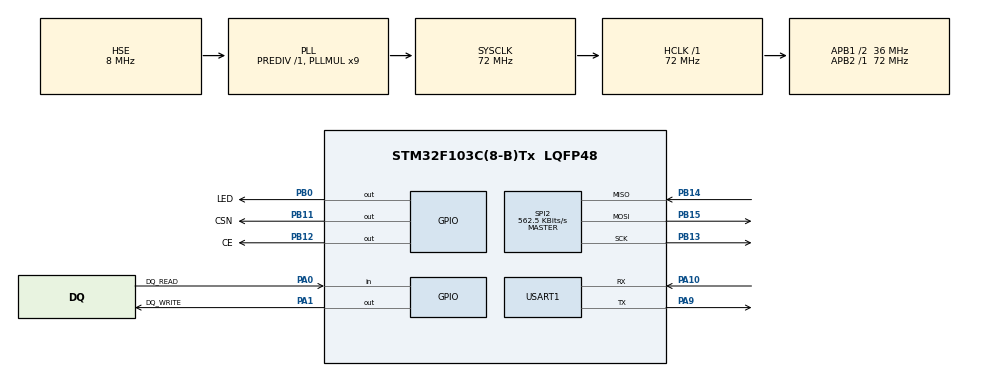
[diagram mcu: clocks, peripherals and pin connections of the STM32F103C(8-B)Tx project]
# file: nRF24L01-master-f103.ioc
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Mcu.Family=STM32F1
Mcu.Name=STM32F103C(8-B)Tx
Mcu.Package=LQFP48
NVIC.PriorityGroup=NVIC_PRIORITYGROUP_4
PA0-WKUP.GPIO_Label=DQ_READ
PA0-WKUP.GPIO_PuPd=GPIO_PULLUP
PA0-WKUP.Signal=GPIO_Input
PA1.GPIO_Label=DQ_WRITE
PA1.GPIO_ModeDefaultOutputPP=GPIO_MODE_OUTPUT_OD
PA1.GPIO_PuPd=GPIO_PULLUP
PA1.GPIO_Speed=GPIO_SPEED_FREQ_HIGH
PA1.PinState=GPIO_PIN_SET
PA1.Signal=GPIO_Output
PA10.Mode=Asynchronous
PA10.Signal=USART1_RX
PA13.Mode=Serial_Wire
PA13.Signal=SYS_JTMS-SWDIO
PA14.Mode=Serial_Wire
PA14.Signal=SYS_JTCK-SWCLK
PA9.Mode=Asynchronous
PA9.Signal=USART1_TX
PB0.GPIO_Label=LED
PB0.Signal=GPIO_Output
PB11.GPIO_Label=CSN
PB11.GPIO_PuPd=GPIO_PULLUP
PB11.Signal=GPIO_Output
PB12.GPIO_Label=CE
PB12.GPIO_PuPd=GPIO_PULLUP
PB12.Signal=GPIO_Output
PB13.Mode=Full_Duplex_Master
PB13.Signal=SPI2_SCK
PB14.Mode=Full_Duplex_Master
PB14.Signal=SPI2_MISO
PB15.Mode=Full_Duplex_Master
PB15.Signal=SPI2_MOSI
PD0-OSC_IN.Mode=HSE-External-Oscillator
PD0-OSC_IN.Signal=RCC_OSC_IN
PD1-OSC_OUT.Mode=HSE-External-Oscillator
PD1-OSC_OUT.Signal=RCC_OSC_OUT
ProjectManager.HeapSize=0x200
ProjectManager.StackSize=0x400
ProjectManager.TargetToolchain=SW4STM32
RCC.AHBFreq_Value=72000000
RCC.APB1CLKDivider=RCC_HCLK_DIV2
RCC.APB1Freq_Value=36000000
RCC.APB1TimFreq_Value=72000000
RCC.APB2Freq_Value=72000000
RCC.APB2TimFreq_Value=72000000
RCC.HCLKFreq_Value=72000000
RCC.PLLMUL=RCC_PLL_MUL9
RCC.PLLSourceVirtual=RCC_PLLSOURCE_HSE
RCC.SYSCLKFreq_VALUE=72000000
RCC.SYSCLKSource=RCC_SYSCLKSOURCE_PLLCLK
RCC.USBFreq_Value=72000000
SPI2.BaudRatePrescaler=SPI_BAUDRATEPRESCALER_64
SPI2.CalculateBaudRate=562.5 KBits/s
SPI2.Direction=SPI_DIRECTION_2LINES
SPI2.Mode=SPI_MODE_MASTER
SPI2.VirtualType=VM_MASTER
USART1.VirtualMode=VM_ASYNC
board=custom

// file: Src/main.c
/* USER CODE BEGIN Header */
/**
  ******************************************************************************
  * @file           : main.c
  * @brief          : Main program body
  ******************************************************************************
  * @attention
  *
  * <h2><center>&copy; Copyright (c) 2019 STMicroelectronics.
  * All rights reserved.</center></h2>
  *
  * This software component is licensed by ST under BSD 3-Clause license,
  * the "License"; You may not use this file except in compliance with the
  * License. You may obtain a copy of the License at:
  *                        opensource.org/licenses/BSD-3-Clause
  *
  ******************************************************************************
  */
/* USER CODE END Header */

#include "main.h"
#include "spi.h"
#include "usart.h"
#include "gpio.h"

/* USER CODE BEGIN Includes */
	#include <string.h>
	#include <stdio.h>
	#include "NRF24L01_sm.h"
	#include "ds18b20_sm.h"

/* USER CODE END Includes */

/* USER CODE BEGIN PD */
#define CHECK_BIT(var, pos) (((var) & (1UL << (pos))) != 0)
/* USER CODE END PD */

void SystemClock_Config(void);

/* USER CODE BEGIN 0 */

	uint8_t dataOut[32];	/* Data received and data for send */
	uint8_t  dataIn[32];
	NRF24L01_Transmit_Status_t transmissionStatus;	/* NRF transmission status */

#ifdef MASTER
	uint8_t MyAddress[] = { 0, 0, 0, 0, 0x10 };	/* My address */
	uint8_t Tx0Address[] = { 0, 0, 0, 0, 0x21 };	/* Other end address */
	uint8_t Tx1Address[] = { 0, 0, 0, 0, 0x22 };	/* Other end address */
#endif

#ifdef SLAVE_21
	uint8_t MyAddress[] = { 0, 0, 0, 0, 0x21 };	/* My address */
	uint8_t TxAddress[] = { 0, 0, 0, 0, 0x10 };	/* Other end address */
#endif

#ifdef SLAVE_22
	uint8_t MyAddress[] = { 0, 0, 0, 0, 0x22 };	/* My address */
	uint8_t TxAddress[] = { 0, 0, 0, 0, 0x10 };	/* Other end address */
#endif
	char DataChar[100];
/* USER CODE END 0 */

int main(void)
{

  /* MCU Configuration--------------------------------------------------------*/

  /* Reset of all peripherals, Initializes the Flash interface and the Systick. */
  HAL_Init();

  /* Configure the system clock */
  SystemClock_Config();

  /* Initialize all configured peripherals */
  MX_GPIO_Init();
  MX_SPI2_Init();
  MX_USART1_UART_Init();
  /* USER CODE BEGIN 2 */

#ifdef MASTER
		sprintf(DataChar,"\r\n nRF24L01 MASTER v1.4.0 \r\nUART1 for debug started on speed 115200\r\n");
#else
		sprintf(DataChar,"\r\n nRF24L01 SLAVE v1.4.0 \r\nUART1 for debug started on speed 115200\r\n");
#endif
	HAL_UART_Transmit(&huart1, (uint8_t *)DataChar, strlen(DataChar), 100);

	NRF24L01_Init(&hspi2, MY_CHANNEL, 32);
	NRF24L01_SetRF(NRF24L01_DataRate_250k, NRF24L01_OutputPower_M6dBm);	/* Set 250kBps data rate and -6dBm output power */
	NRF24L01_SetMyAddress(MyAddress);	/* Set my address, 5 bytes */
	//NRF24L01_SetTxAddress(TxAddress);	/* Set TX address, 5 bytes */

#ifdef MASTER
	uint32_t sendTime = HAL_GetTick();
	uint8_t errors = 0;
#endif
	uint32_t lastTime = HAL_GetTick();
	int16_t  waitTime = 0;
	uint32_t ID_counter = 0;

	HAL_GPIO_WritePin(DQ_WRITE_GPIO_Port, DQ_WRITE_Pin, GPIO_PIN_SET);

  /* USER CODE END 2 */

  /* Infinite loop */
  /* USER CODE BEGIN WHILE */
  while (1)
  {
#ifdef MASTER
	if (HAL_GetTick() - lastTime > 1000) {			/* Every 2 seconds */
		if  ((ID_counter++)%2 == 1){
			DS18b20_ConvertTemp_SkipROM();

			NRF24L01_SetTxAddress(Tx0Address);	/* Set TX address, 5 bytes */
			sprintf(DataChar,"Convert...\r\n%d)dev20\r\n", (int)ID_counter);
		} else {
			int temp_i = DS18b20_Get_Temp_SkipROM();
			float temp_fl = (float)temp_i / 1600.0;
			sprintf(DataChar,"fl: %.03f; t: %d", temp_fl, temp_i/16);
			HAL_UART_Transmit(&huart1, (uint8_t *)DataChar, strlen(DataChar), 100);

			NRF24L01_SetTxAddress(Tx1Address);	/* Set TX address, 5 bytes */
			sprintf(DataChar,"\r\n%d)dev21\r\n", (int)ID_counter);
		}
		HAL_UART_Transmit(&huart1, (uint8_t *)DataChar, strlen(DataChar), 100);

		HAL_GPIO_WritePin(LED_GPIO_Port, LED_Pin, GPIO_PIN_RESET);
		sprintf((char *) dataOut, "Good f103 news  #%d", waitTime++);

		sprintf(DataChar,"TX: %s\r\n", dataOut);
		HAL_UART_Transmit(&huart1, (uint8_t *)DataChar, strlen(DataChar), 100);

		/* Transmit data, goes automatically to TX mode */
		NRF24L01_Transmit(dataOut);
		/* Wait for data to be sent */
		do {
			/* Get transmission status */
			transmissionStatus = NRF24L01_GetTransmissionStatus();
		} while (transmissionStatus == NRF24L01_Transmit_Status_Sending);
		sendTime = HAL_GetTick();

		/* Go back to RX mode */
		NRF24L01_PowerUpRx();
		/* Wait received data, wait max 100ms, if time is larger, then data were probably lost */
		while (!NRF24L01_DataReady() && (HAL_GetTick() - sendTime) < 100);
		sprintf(DataChar,"RX: ");
		HAL_UART_Transmit(&huart1, (uint8_t *)DataChar, strlen(DataChar), 100);
		NRF24L01_GetData(dataIn);				/* Get data from NRF2L01+ */
		sprintf(DataChar,"%s\r\n", dataIn);
		HAL_UART_Transmit(&huart1, (uint8_t *)DataChar, strlen(DataChar), 100);
		sprintf(DataChar,"Ping  : %d ms\r\n", (int)(HAL_GetTick() - sendTime));				/* Show ping time */
		HAL_UART_Transmit(&huart1, (uint8_t *)DataChar, strlen(DataChar), 100);

		sprintf(DataChar,"Status: ");
		HAL_UART_Transmit(&huart1, (uint8_t *)DataChar, strlen(DataChar), 100);
		if (transmissionStatus == NRF24L01_Transmit_Status_Ok) {	/* Check transmit status */
			sprintf(DataChar,"OK\r\n");					/* Transmit went OK */
			HAL_UART_Transmit(&huart1, (uint8_t *)DataChar, strlen(DataChar), 100);
		} else if (transmissionStatus == NRF24L01_Transmit_Status_Lost) {
			sprintf(DataChar,"LOST\r\n");		/* Message was LOST */
			HAL_UART_Transmit(&huart1, (uint8_t *)DataChar, strlen(DataChar), 100);
		} else {
			/* This should never happen */
			sprintf(DataChar,"Sending data: \r\n");
			HAL_UART_Transmit(&huart1, (uint8_t *)DataChar, strlen(DataChar), 100);
		}

		errors = 0;
		for (int k = 0; k < sizeof(dataIn) / sizeof(dataIn[0]); k++) {
			errors += (dataIn[k]!=dataOut[k]);
		}
		sprintf(DataChar,"Errors: %d\r\n", errors);
		HAL_UART_Transmit(&huart1, (uint8_t *)DataChar, strlen(DataChar), 100);
		sprintf(DataChar,"\r\n");
		HAL_UART_Transmit(&huart1, (uint8_t *)DataChar, strlen(DataChar), 100);
		lastTime = HAL_GetTick();
		HAL_GPIO_WritePin(LED_GPIO_Port, LED_Pin, GPIO_PIN_SET);
	}
#else
	/* If data is ready on NRF24L01+ */
	if (NRF24L01_DataReady()) {
		HAL_GPIO_WritePin(LED_GPIO_Port, LED_Pin, GPIO_PIN_RESET);
		/* Get data from NRF24L01+ */
		NRF24L01_GetData(dataIn);
		HAL_Delay(1);
		/* Send it back, automatically goes to TX mode */
		NRF24L01_Transmit(dataIn);

		/* Wait for data to be sent */
		do {
			/* Wait till sending */
			transmissionStatus = NRF24L01_GetTransmissionStatus();
		} while (transmissionStatus == NRF24L01_Transmit_Status_Sending);
		/* Send done */

		/* Check data & transmit status */

		sprintf(DataChar,"\r\nRX: %s\r\n", dataIn);
		HAL_UART_Transmit(&huart1, (uint8_t *)DataChar, strlen(DataChar), 100);

		sprintf(DataChar,"Send it back: ");
		HAL_UART_Transmit(&huart1, (uint8_t *)DataChar, strlen(DataChar), 100);

		if (transmissionStatus == NRF24L01_Transmit_Status_Ok) {
			/* Transmit went OK */
			sprintf(DataChar,"OK\r\n");
			HAL_UART_Transmit(&huart1, (uint8_t *)DataChar, strlen(DataChar), 100);
		} else {
			/* Message was LOST */
			sprintf(DataChar,"ERROR\r\n");
			HAL_UART_Transmit(&huart1, (uint8_t *)DataChar, strlen(DataChar), 100);
		}

		/* Go back to RX mode */
		NRF24L01_PowerUpRx();
		waitTime = 0;
		HAL_GPIO_WritePin(LED_GPIO_Port, LED_Pin, GPIO_PIN_SET);
	} else {
		if (HAL_GetTick() - lastTime > 250) {
			if (waitTime == 0) {
			sprintf(DataChar,"\r\nWaiting for data");
				HAL_UART_Transmit(&huart1, (uint8_t *)DataChar, strlen(DataChar), 100);
				waitTime++;
			} else if (waitTime > 17) {
			sprintf(DataChar,"\r\n");
				HAL_UART_Transmit(&huart1, (uint8_t *)DataChar, strlen(DataChar), 100);
				waitTime = 0;
			} else {
			sprintf(DataChar,".");
				HAL_UART_Transmit(&huart1, (uint8_t *)DataChar, strlen(DataChar), 100);
				waitTime++;
			}
			lastTime = HAL_GetTick();
		}
	}
#endif

    /* USER CODE END WHILE */

  }
}

void SystemClock_Config(void)
{
  RCC_OscInitTypeDef RCC_OscInitStruct = {0};
  RCC_ClkInitTypeDef RCC_ClkInitStruct = {0};

  /** Initializes the CPU, AHB and APB busses clocks
  */
  RCC_OscInitStruct.OscillatorType = RCC_OSCILLATORTYPE_HSE;
  RCC_OscInitStruct.HSEState = RCC_HSE_ON;
  RCC_OscInitStruct.HSEPredivValue = RCC_HSE_PREDIV_DIV1;
  RCC_OscInitStruct.HSIState = RCC_HSI_ON;
  RCC_OscInitStruct.PLL.PLLState = RCC_PLL_ON;
  RCC_OscInitStruct.PLL.PLLSource = RCC_PLLSOURCE_HSE;
  RCC_OscInitStruct.PLL.PLLMUL = RCC_PLL_MUL9;
  if (HAL_RCC_OscConfig(&RCC_OscInitStruct) != HAL_OK)
  {
    Error_Handler();
  }
  /** Initializes the CPU, AHB and APB busses clocks
  */
  RCC_ClkInitStruct.ClockType = RCC_CLOCKTYPE_HCLK|RCC_CLOCKTYPE_SYSCLK
                              |RCC_CLOCKTYPE_PCLK1|RCC_CLOCKTYPE_PCLK2;
  RCC_ClkInitStruct.SYSCLKSource = RCC_SYSCLKSOURCE_PLLCLK;
  RCC_ClkInitStruct.AHBCLKDivider = RCC_SYSCLK_DIV1;
  RCC_ClkInitStruct.APB1CLKDivider = RCC_HCLK_DIV2;
  RCC_ClkInitStruct.APB2CLKDivider = RCC_HCLK_DIV1;

  if (HAL_RCC_ClockConfig(&RCC_ClkInitStruct, FLASH_LATENCY_2) != HAL_OK)
  {
    Error_Handler();
  }
}

void Error_Handler(void)
{
}

/************************ (C) COPYRIGHT STMicroelectronics *****END OF FILE****/
